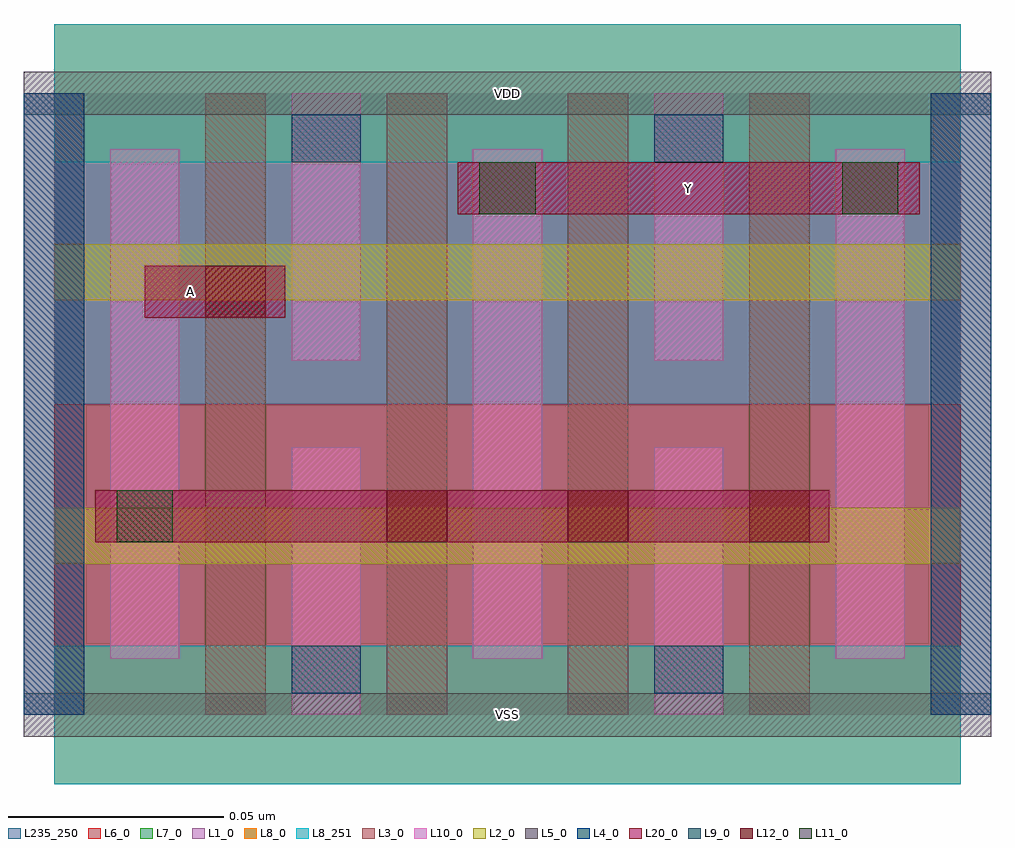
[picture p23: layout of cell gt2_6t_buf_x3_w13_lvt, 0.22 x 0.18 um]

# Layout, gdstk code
import gdstk
lib = gdstk.Library(unit=1e-6, precision=5e-10)
def R(c, l, rs):  # rectangles x0, y0, x1, y1
    for r in rs: c.add(gdstk.rectangle(r[:2], r[2:], *l))
def A(c, l, x, y, w, h, nx, ny, dx, dy):  # array of equal rectangles
    R(c, l, [(x+i*dx, y+j*dy, x+i*dx+w, y+j*dy+h) for i in range(nx) for j in range(ny)])
L1_0 = (1, 0)
L2_0 = (2, 0)
L3_0 = (3, 0)
L4_0 = (4, 0)
L5_0 = (5, 0)
L6_0 = (6, 0)
L7_0 = (7, 0)
L8_0 = (8, 0)
L8_251 = (8, 251)
L9_0 = (9, 0)
L10_0 = (10, 0)
L11_0 = (11, 0)
L12_0 = (12, 0)
L20_0 = (20, 0)
L235_250 = (235, 250)

gt2_6t_buf_x3_w13_lvt = lib.new_cell('gt2_6t_buf_x3_w13_lvt')
R(gt2_6t_buf_x3_w13_lvt, L1_0, [(0,0.072,0.21,0.144)])
R(gt2_6t_buf_x3_w13_lvt, L2_0, [(0,0.035,0.21,0.048), (0,0.096,0.21,0.109)])
A(gt2_6t_buf_x3_w13_lvt, L3_0, -0.007, 0, 0.014, 0.144, 6, 1, 0.042, 0)
R(gt2_6t_buf_x3_w13_lvt, L4_0, [(-0.007,0,0.007,0.144), (0.203,0,0.217,0.144)])
R(gt2_6t_buf_x3_w13_lvt, L5_0, [(-0.007,-0.005,0.217,0.005), (-0.007,0.139,0.217,0.149)])
R(gt2_6t_buf_x3_w13_lvt, L6_0, [(0,0,0.21,0.072)])
R(gt2_6t_buf_x3_w13_lvt, L7_0, [(0,0.072,0.21,0.144)])
R(gt2_6t_buf_x3_w13_lvt, L8_0, [(0,-0.016,0.21,0.016), (0,0.128,0.21,0.16)])
R(gt2_6t_buf_x3_w13_lvt, L8_251, [(0,-0.016,0.21,0.016), (0,0.128,0.21,0.16)])
R(gt2_6t_buf_x3_w13_lvt, L9_0, [(0.055,0.005,0.071,0.016), (0.139,0.005,0.155,0.016), (0.055,0.128,0.071,0.139), (0.139,0.128,0.155,0.139)])
A(gt2_6t_buf_x3_w13_lvt, L10_0, 0.013, 0.013, 0.016, 0.118, 3, 1, 0.084, 0)
R(gt2_6t_buf_x3_w13_lvt, L10_0, [(0.055,0,0.071,0.062), (0.139,0,0.155,0.062), (0.055,0.082,0.071,0.144), (0.139,0.082,0.155,0.144)])
R(gt2_6t_buf_x3_w13_lvt, L11_0, [(0.0145,0.04,0.0275,0.052), (0.0985,0.116,0.1115,0.128), (0.1825,0.116,0.1955,0.128)])
A(gt2_6t_buf_x3_w13_lvt, L12_0, 0.077, 0.04, 0.014, 0.012, 3, 1, 0.042, 0)
R(gt2_6t_buf_x3_w13_lvt, L12_0, [(0.035,0.092,0.049,0.104)])
R(gt2_6t_buf_x3_w13_lvt, L20_0, [(0.0095,0.04,0.1795,0.052), (0.021,0.092,0.0535,0.104), (0.0935,0.116,0.2005,0.128)])
R(gt2_6t_buf_x3_w13_lvt, L235_250, [(0,0,0.21,0.144)])
gt2_6t_buf_x3_w13_lvt.add(gdstk.Label('VSS', (0.105,0), layer=8, texttype=251))
gt2_6t_buf_x3_w13_lvt.add(gdstk.Label('VDD', (0.105,0.144), layer=8, texttype=251))
gt2_6t_buf_x3_w13_lvt.add(gdstk.Label('Y', (0.147,0.122), layer=20, texttype=251))
gt2_6t_buf_x3_w13_lvt.add(gdstk.Label('A', (0.0315,0.098), layer=20, texttype=251))

lib.write_gds('gt2_6t_buf_x3_w13_lvt.gds')
